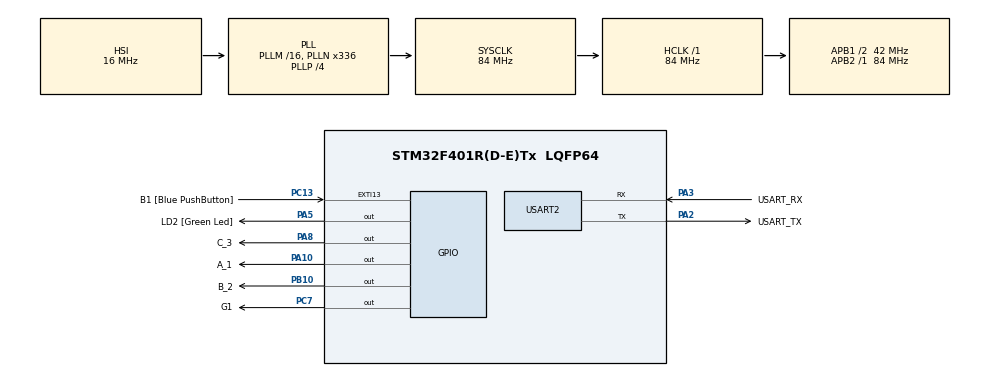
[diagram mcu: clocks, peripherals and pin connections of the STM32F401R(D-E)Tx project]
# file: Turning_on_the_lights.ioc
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Mcu.Family=STM32F4
Mcu.Name=STM32F401R(D-E)Tx
Mcu.Package=LQFP64
NVIC.PriorityGroup=NVIC_PRIORITYGROUP_4
PA10.GPIO_Label=A_1
PA10.Signal=GPIO_Output
PA13.GPIO_Label=TMS
PA13.Mode=Trace_Asynchronous_SW
PA13.Signal=SYS_JTMS-SWDIO
PA14.GPIO_Label=TCK
PA14.Mode=Trace_Asynchronous_SW
PA14.Signal=SYS_JTCK-SWCLK
PA2.GPIO_Label=USART_TX
PA2.GPIO_Mode=GPIO_MODE_AF_PP
PA2.GPIO_PuPd=GPIO_NOPULL
PA2.GPIO_Speed=GPIO_SPEED_FREQ_LOW
PA2.Mode=Asynchronous
PA2.Signal=USART2_TX
PA3.GPIO_Label=USART_RX
PA3.GPIO_Mode=GPIO_MODE_AF_PP
PA3.GPIO_PuPd=GPIO_NOPULL
PA3.GPIO_Speed=GPIO_SPEED_FREQ_LOW
PA3.Mode=Asynchronous
PA3.Signal=USART2_RX
PA5.GPIO_Label=LD2 [Green Led]
PA5.GPIO_Mode=GPIO_MODE_OUTPUT_PP
PA5.GPIO_PuPd=GPIO_NOPULL
PA5.GPIO_Speed=GPIO_SPEED_FREQ_LOW
PA5.Signal=GPIO_Output
PA8.GPIO_Label=C_3
PA8.GPIO_PuPd=GPIO_NOPULL
PA8.Signal=GPIO_Output
PB10.GPIO_Label=B_2
PB10.Signal=GPIO_Output
PB3.GPIO_Label=SWO
PB3.Mode=Trace_Asynchronous_SW
PB3.Signal=SYS_JTDO-SWO
PC13-ANTI_TAMP.GPIO_Label=B1 [Blue PushButton]
PC13-ANTI_TAMP.GPIO_ModeDefaultEXTI=GPIO_MODE_IT_FALLING
PC13-ANTI_TAMP.GPIO_PuPd=GPIO_NOPULL
PC13-ANTI_TAMP.Signal=GPXTI13
PC14-OSC32_IN.Mode=LSE-External-Oscillator
PC14-OSC32_IN.Signal=RCC_OSC32_IN
PC15-OSC32_OUT.Mode=LSE-External-Oscillator
PC15-OSC32_OUT.Signal=RCC_OSC32_OUT
PC7.GPIO_Label=G1
PC7.Signal=GPIO_Output
PH0\ -\ OSC_IN.Mode=HSE-External-Clock-Source
PH0\ -\ OSC_IN.Signal=RCC_OSC_IN
PH1\ -\ OSC_OUT.Mode=HSE-External-Clock-Source
PH1\ -\ OSC_OUT.Signal=RCC_OSC_OUT
ProjectManager.HeapSize=0x200
ProjectManager.StackSize=0x400
ProjectManager.TargetToolchain=CMake
RCC.48MHZClocksFreq_Value=48000000
RCC.AHBFreq_Value=84000000
RCC.APB1CLKDivider=RCC_HCLK_DIV2
RCC.APB1Freq_Value=42000000
RCC.APB1TimFreq_Value=84000000
RCC.APB2Freq_Value=84000000
RCC.APB2TimFreq_Value=84000000
RCC.CortexFreq_Value=84000000
RCC.HCLKFreq_Value=84000000
RCC.HSE_VALUE=8000000
RCC.HSI_VALUE=16000000
RCC.PLLN=336
RCC.PLLP=RCC_PLLP_DIV4
RCC.PLLQ=7
RCC.SYSCLKFreq_VALUE=84000000
RCC.SYSCLKSource=RCC_SYSCLKSOURCE_PLLCLK
RCC.VCOOutputFreq_Value=336000000
USART2.VirtualMode=VM_ASYNC
board=NUCLEO-F401RE

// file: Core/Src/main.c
/* USER CODE BEGIN Header */
/**
  ******************************************************************************
  * @file           : main.c
  * @brief          : Main program body
  ******************************************************************************
  * @attention
  *
  * Copyright (c) 2026 STMicroelectronics.
  * All rights reserved.
  *
  * This software is licensed under terms that can be found in the LICENSE file
  * in the root directory of this software component.
  * If no LICENSE file comes with this software, it is provided AS-IS.
  *
  ******************************************************************************
  */
/* USER CODE END Header */
#include "main.h"
#include "usart.h"
#include "gpio.h"

/* USER CODE BEGIN PD */
#define DEC_CHANNEL_COUNT    8u   /* 74LS138은 3비트(A,B,C) 입력으로 채널 0~7(Y0~Y7)을 선택 */
#define BUTTON_DEBOUNCE_MS   20u  /* 버튼 채터링 방지용 디바운스 시간 (15~20ms 권장) */
#define LED_BLINK_ON_MS      120u /* 채널 표시용 LD2 점멸 ON 구간 길이 */
#define LED_BLINK_OFF_MS     120u /* 채널 표시용 LD2 점멸 OFF 구간 길이 */
/* USER CODE END PD */

/* USER CODE BEGIN PV */
static uint8_t s_currentChannel = 0; /* 현재 선택된 74LS138 채널 번호 (0~7) */
/* USER CODE END PV */

void SystemClock_Config(void);
/* USER CODE BEGIN PFP */
static void DEC_Init(void);
static void DEC_Select(uint8_t channel);
static void DEC_Enable(uint8_t on);
static void LED_BlinkCount(uint8_t count);
static uint8_t Button_PollPressed(void);

#if 0
/* LED(+저항) 장착 후 테스트용 데모 함수 (기본 빌드에서는 컴파일되지 않음) */
static void Demo_SequentialScan(void);
static void Demo_KnightRider(void);
static void Demo_PatternDisplay(void);
#endif
/* USER CODE END PFP */

/* USER CODE BEGIN 0 */

/**
  * @brief  74LS138 디코더 제어 모듈 초기화
  *         채널을 0번으로 선택하고 G1(출력 허가)을 HIGH로 올려 동작을 시작한다.
  *         G2A, G2B는 보드 배선상 GND에 고정되어 있어 소프트웨어 제어가 필요 없다.
  * @retval None
  */
static void DEC_Init(void)
{
  DEC_Select(0);
  DEC_Enable(1);
}

/**
  * @brief  74LS138의 A/B/C 셀렉트 라인에 채널 번호를 2진수로 출력한다.
  *         A = LSB (PA10), B = 중간 비트 (PB10), C = MSB (PA8)
  *         예) channel = 5(0b101) -> A=1, B=0, C=1 -> Y5 활성화
  * @param  channel 선택할 채널 번호 (0~7). 범위를 벗어나면 하위 3비트만 사용된다.
  * @retval None
  */
static void DEC_Select(uint8_t channel)
{
  channel &= 0x07u;

  HAL_GPIO_WritePin(A_1_GPIO_Port, A_1_Pin, (channel & 0x01u) ? GPIO_PIN_SET : GPIO_PIN_RESET);
  HAL_GPIO_WritePin(B_2_GPIO_Port, B_2_Pin, (channel & 0x02u) ? GPIO_PIN_SET : GPIO_PIN_RESET);
  HAL_GPIO_WritePin(C_3_GPIO_Port, C_3_Pin, (channel & 0x04u) ? GPIO_PIN_SET : GPIO_PIN_RESET);
}

/**
  * @brief  74LS138의 G1(출력 허가, active-high) 핀을 제어한다.
  *         G1이 LOW인 동안에는 A/B/C 값과 무관하게 모든 출력(Y0~Y7)이 비활성 상태(HIGH)이다.
  *         이 프로젝트에서는 항상 HIGH로 유지해 출력을 상시 허가한다.
  * @param  on 0이 아니면 G1 = HIGH(허가), 0이면 G1 = LOW(차단)
  * @retval None
  */
static void DEC_Enable(uint8_t on)
{
  HAL_GPIO_WritePin(G1_GPIO_Port, G1_Pin, on ? GPIO_PIN_SET : GPIO_PIN_RESET);
}

/**
  * @brief  보드 내장 LED(LD2, PA5)를 지정한 횟수만큼 짧게 깜빡인다.
  *         채널이 바뀔 때마다 "채널번호 + 1"번 호출하여 현재 채널을 시각적으로 확인한다.
  *         (예: 채널 0 선택 시 1번, 채널 7 선택 시 8번 깜빡임)
  * @param  count 깜빡일 횟수
  * @retval None
  */
static void LED_BlinkCount(uint8_t count)
{
  for (uint8_t i = 0; i < count; i++)
  {
    HAL_GPIO_WritePin(LD2_GPIO_Port, LD2_Pin, GPIO_PIN_SET);
    HAL_Delay(LED_BLINK_ON_MS);
    HAL_GPIO_WritePin(LD2_GPIO_Port, LD2_Pin, GPIO_PIN_RESET);
    HAL_Delay(LED_BLINK_OFF_MS);
  }
}

/**
  * @brief  B1(PC13) 버튼을 폴링 방식으로 읽어 "눌림 엣지"(안 눌림->눌림, HIGH->LOW)를
  *         디바운스 처리 후 1회만 감지한다. 인터럽트(EXTI)는 사용하지 않는다.
  *         상태가 바뀐 순간에만 BUTTON_DEBOUNCE_MS 만큼 대기 후 재확인하는 방식으로
  *         채터링을 걸러낸다.
  * @retval 1: 이번 호출에서 새로운 "눌림" 엣지가 감지됨 / 0: 변화 없음
  */
static uint8_t Button_PollPressed(void)
{
  static GPIO_PinState lastStable = GPIO_PIN_SET; /* 안 눌림(HIGH)이 기본 상태 */
  uint8_t pressedEdge = 0;
  GPIO_PinState raw = HAL_GPIO_ReadPin(B1_GPIO_Port, B1_Pin);

  if (raw != lastStable)
  {
    HAL_Delay(BUTTON_DEBOUNCE_MS); /* 채터링 방지: 짧게 대기 후 재확인 */
    raw = HAL_GPIO_ReadPin(B1_GPIO_Port, B1_Pin);

    if (raw != lastStable)
    {
      if (raw == GPIO_PIN_RESET) /* HIGH -> LOW 로 안정적으로 바뀐 경우만 "눌림"으로 처리 */
      {
        pressedEdge = 1;
      }
      lastStable = raw;
    }
  }

  return pressedEdge;
}

#if 0
/* ==========================================================================
 * 데모 함수 모음 (기본 빌드에는 포함되지 않음, #if 1로 바꾸고 main()에서 호출)
 * LED 8개 + 470Ω 이상 저항 8개를 74LS138의 Y0~Y7 각 핀에 연결한 뒤 테스트할 것.
 *
 * 주의(하드웨어 제약):
 *  - 74LS138의 출력(Y0~Y7)은 5V(TTL) 레벨이므로 STM32 GPIO 입력으로 절대
 *    되돌리지 말 것 (STM32F401 GPIO는 5V 내성이 없어 손상 위험이 있음).
 *  - 출력 전류는 74LS138의 sink 한계(채널당 약 8mA)를 넘지 않도록 설계할 것.
 *    LED 추가 시 저항은 470Ω 이상을 권장 (5V 공급, LED Vf~2V 가정 시
 *    (5V - 2V) / 470Ω ≈ 6.4mA 로 8mA 이내).
 *  - 74LS138은 디먼서(demux) 구조라 활성화된 출력은 한 번에 하나뿐이다.
 *    따라서 아래 "패턴 표시"는 여러 채널을 순서대로 빠르게 전환하는 방식이다.
 * ========================================================================== */

/**
  * @brief  채널 0 -> 1 -> ... -> 7 -> 0 순으로 순차 점등하는 데모
  * @retval None
  */
static void Demo_SequentialScan(void)
{
  for (uint8_t ch = 0; ch < DEC_CHANNEL_COUNT; ch++)
  {
    DEC_Select(ch);
    HAL_Delay(200);
  }
}

/**
  * @brief  0 -> 7 -> 0 방향으로 왕복하며 점등하는 "나이트라이더" 스타일 데모
  * @retval None
  */
static void Demo_KnightRider(void)
{
  for (uint8_t ch = 0; ch < DEC_CHANNEL_COUNT; ch++)
  {
    DEC_Select(ch);
    HAL_Delay(150);
  }
  for (int8_t ch = DEC_CHANNEL_COUNT - 2; ch > 0; ch--)
  {
    DEC_Select((uint8_t)ch);
    HAL_Delay(150);
  }
}

/**
  * @brief  임의로 정한 순서(패턴)로 채널을 표시하는 데모
  * @retval None
  */
static void Demo_PatternDisplay(void)
{
  static const uint8_t pattern[] = {0, 2, 4, 6, 1, 3, 5, 7};

  for (uint8_t i = 0; i < sizeof(pattern) / sizeof(pattern[0]); i++)
  {
    DEC_Select(pattern[i]);
    HAL_Delay(250);
  }
}
#endif /* 0 : 데모 함수 모음 끝 */

/* USER CODE END 0 */

int main(void)
{

  /* MCU Configuration--------------------------------------------------------*/

  /* Reset of all peripherals, Initializes the Flash interface and the Systick. */
  HAL_Init();

  /* Configure the system clock */
  SystemClock_Config();

  /* Initialize all configured peripherals */
  MX_GPIO_Init();
  MX_USART2_UART_Init();
  /* USER CODE BEGIN 2 */
  DEC_Init(); /* 채널 0 선택 + G1 HIGH(출력 허가) */
  /* USER CODE END 2 */

  /* Infinite loop */
  /* USER CODE BEGIN WHILE */
  while (1)
  {
    if (Button_PollPressed())
    {
      /* 버튼을 누를 때마다 채널을 0->1->...->7->0 순으로 한 칸씩 이동 */
      s_currentChannel = (uint8_t)((s_currentChannel + 1u) % DEC_CHANNEL_COUNT);
      DEC_Select(s_currentChannel);

      /* 채널 변경 직후 "채널번호 + 1"번 LD2 깜빡임으로 현재 채널 표시 */
      LED_BlinkCount((uint8_t)(s_currentChannel + 1u));
    }
    /* USER CODE END WHILE */

  }
}

void SystemClock_Config(void)
{
  RCC_OscInitTypeDef RCC_OscInitStruct = {0};
  RCC_ClkInitTypeDef RCC_ClkInitStruct = {0};

  /** Configure the main internal regulator output voltage
  */
  __HAL_RCC_PWR_CLK_ENABLE();
  __HAL_PWR_VOLTAGESCALING_CONFIG(PWR_REGULATOR_VOLTAGE_SCALE2);

  /** Initializes the RCC Oscillators according to the specified parameters
  * in the RCC_OscInitTypeDef structure.
  */
  RCC_OscInitStruct.OscillatorType = RCC_OSCILLATORTYPE_HSI;
  RCC_OscInitStruct.HSIState = RCC_HSI_ON;
  RCC_OscInitStruct.HSICalibrationValue = RCC_HSICALIBRATION_DEFAULT;
  RCC_OscInitStruct.PLL.PLLState = RCC_PLL_ON;
  RCC_OscInitStruct.PLL.PLLSource = RCC_PLLSOURCE_HSI;
  RCC_OscInitStruct.PLL.PLLM = 16;
  RCC_OscInitStruct.PLL.PLLN = 336;
  RCC_OscInitStruct.PLL.PLLP = RCC_PLLP_DIV4;
  RCC_OscInitStruct.PLL.PLLQ = 7;
  if (HAL_RCC_OscConfig(&RCC_OscInitStruct) != HAL_OK)
  {
    Error_Handler();
  }

  /** Initializes the CPU, AHB and APB buses clocks
  */
  RCC_ClkInitStruct.ClockType = RCC_CLOCKTYPE_HCLK|RCC_CLOCKTYPE_SYSCLK
                              |RCC_CLOCKTYPE_PCLK1|RCC_CLOCKTYPE_PCLK2;
  RCC_ClkInitStruct.SYSCLKSource = RCC_SYSCLKSOURCE_PLLCLK;
  RCC_ClkInitStruct.AHBCLKDivider = RCC_SYSCLK_DIV1;
  RCC_ClkInitStruct.APB1CLKDivider = RCC_HCLK_DIV2;
  RCC_ClkInitStruct.APB2CLKDivider = RCC_HCLK_DIV1;

  if (HAL_RCC_ClockConfig(&RCC_ClkInitStruct, FLASH_LATENCY_2) != HAL_OK)
  {
    Error_Handler();
  }
}

void Error_Handler(void)
{
  __disable_irq();
  while (1)
  {
  }
}
